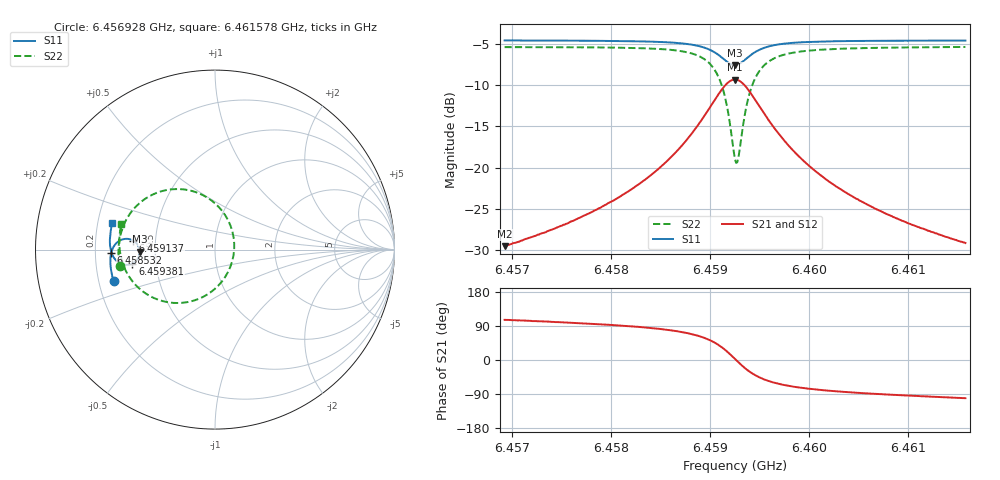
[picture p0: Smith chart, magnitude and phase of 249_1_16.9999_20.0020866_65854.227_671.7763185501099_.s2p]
#  HZ  S  RI  R  50.00
! Rohde & Schwarz Vector Network Analyzer
! Rohde-Schwarz,ZNB20-2Port,1311601062101988,3.16
! Created: UTC 3/20/2024, 11:03:12 PM
! freq[Hz]  re:S11  im:S11  re:S21  im:S21  re:S12  im:S12  re:S22  im:S22
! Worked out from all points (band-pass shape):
!   401 points, 6.456928 GHz to 6.461578 GHz, reference 50 ohm
!   highest |S21| = -9.29 dB at 6.459253 GHz (marker M1); lowest = -29.5 dB at 6.456928 GHz (marker M2)
!   |S21| within 3 dB of the highest: 6.459021 GHz to 6.459485 GHz (464.5 kHz wide, 0.00719 % of centre)
!   lowest |S11| = -7.5 dB at 6.459253 GHz (marker M3), VSWR 2.44, Z = 20.5 - j0.617 ohm
!   |S11| at or under -10 dB: nowhere
!   |S22| runs from -19.4 to -5.3 dB; largest |S21 - S12| = 0.013
!   S11 on the Smith chart (normalised r, x): 6.456928 GHz: 0.26, -0.14; 6.458532 GHz: 0.27, -0.01; 6.459137 GHz: 0.37, +0.05; 6.459381 GHz: 0.37, -0.07; 6.461578 GHz: 0.26, +0.12
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6.4569281e9  -0.5651 -0.1769  -0.00913 0.032  -0.00743 0.0321  -0.5313 -0.0931
6.457707e9  -0.5799 -0.1091  -0.00607 0.0499  -0.00355 0.0493  -0.538 -0.00259
6.4581603e9  -0.5831 -0.0636  0.000243 0.0707  0.00355 0.0693  -0.5296 0.0696
6.4584858e9  -0.5797 -0.0246  0.0133 0.0981  0.0173 0.0955  -0.506 0.1432
6.4585323e9  -0.5784 -0.0183  0.0166 0.1035  0.0206 0.1006  -0.4998 0.1563
6.4587416e9  -0.5663 0.0135  0.0425 0.135  0.0466 0.1305  -0.4517 0.2281
6.4588927e9  -0.5454 0.0399  0.0846 0.1655  0.0881 0.1591  -0.3738 0.2927
6.4590438e9  -0.4994 0.0597  0.1758 0.1849  0.177 0.1775  -0.2069 0.3374
6.4591368e9  -0.4552 0.0498  0.2655 0.1544  0.2659 0.1485  -0.0411 0.2886
6.4591833e9  -0.4341 0.0313  0.3091 0.1119  0.3105 0.1067  0.0417 0.2131
6.4592531e9  -0.4192 -0.0124  0.3426 0.0159  0.3462 0.00888  0.1069 0.0346
6.4592647e9  -0.4196 -0.0205  0.3424 -0.00184  0.3462 -0.00947  0.1068 0.00117
6.4592879e9  -0.423 -0.036  0.3371 -0.0363  0.3408 -0.0454  0.0961 -0.0642
6.4593344e9  -0.4385 -0.0618  0.309 -0.0959  0.3111 -0.1076  0.0394 -0.1767
6.4593809e9  -0.4602 -0.0779  0.2674 -0.1367  0.2667 -0.1499  -0.0448 -0.2512
6.4594739e9  -0.5034 -0.0847  0.1834 -0.168  0.1773 -0.1794  -0.2121 -0.2975
6.459625e9  -0.5469 -0.0644  0.0962 -0.1548  0.0879 -0.1609  -0.3784 -0.2493
6.4597878e9  -0.5683 -0.0368  0.0515 -0.1273  0.0441 -0.13  -0.4588 -0.1783
6.4600319e9  -0.5811 -0.00115  0.0225 -0.0963  0.0167 -0.0967  -0.5067 -0.0962
6.4604155e9  -0.5857 0.0437  0.00549 -0.0678  0.00166 -0.0672  -0.5295 -0.011
6.4608108e9  -0.5838 0.083  -0.00124 -0.0515  -0.004 -0.0506  -0.533 0.0509
6.461578e9  -0.5715 0.1508  -0.00653 -0.0342  -0.00808 -0.0333  -0.522 0.1412
